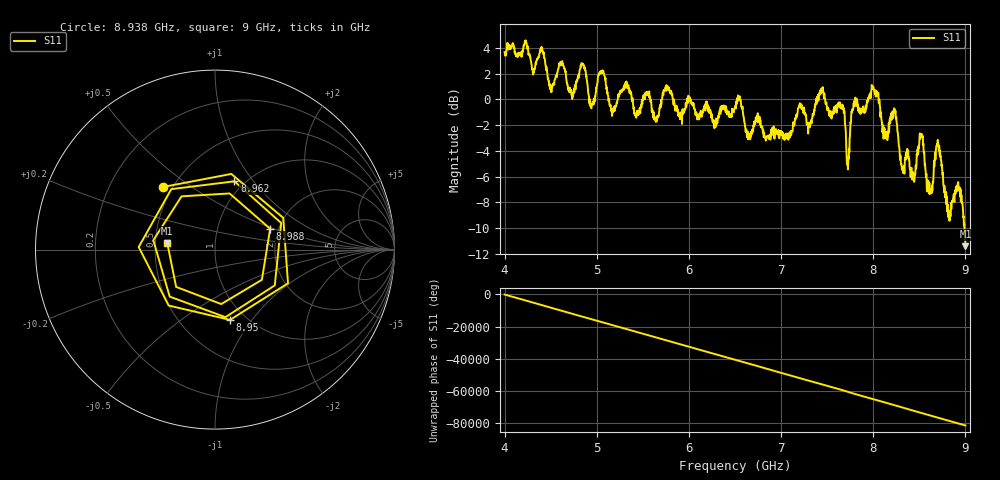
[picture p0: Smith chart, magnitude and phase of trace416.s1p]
! Created with skrf 1.8.0 (http://scikit-rf.org).
# Hz S RI R 50.0
!freq ReS11 ImS11
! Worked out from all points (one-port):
!   1601 points, 4 GHz to 9 GHz, reference 50 ohm
!   lowest |S11| = -11.4 dB at 9 GHz (marker M1), VSWR 1.73, Z = 28.9 + j2.31 ohm
!   |S11| at or under -10 dB: 8.990053 GHz to end of sweep
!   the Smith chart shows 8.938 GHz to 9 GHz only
!   S11 on the Smith chart (normalised r, x): 8.938 GHz: 0.44, +0.39; 8.95 GHz: 0.85, -0.79; 8.962 GHz: 0.90, +0.81; 8.988 GHz: 1.81, +0.47; 9 GHz: 0.58, +0.05
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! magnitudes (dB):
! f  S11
! 4 GHz  3.7
! 4.403 GHz  3.9
! 4.509 GHz  0.6
! 4.625 GHz  3.0
! 4.731 GHz  0.4
! 4.853 GHz  2.7
! 4.944 GHz  -0.4
! 5.047 GHz  2.2
! 5.162 GHz  -0.9
! 5.25 GHz  0.5
! 5.875 GHz  -0.9
! 6.5 GHz  -0.7
! 6.653 GHz  -2.7
! 7.125 GHz  -2.5
! 7.438 GHz  0.9
! 7.75 GHz  -2.4
! 8.006 GHz  0.8
! 8.375 GHz  -4.3
! 8.444 GHz  -6.4
! 8.522 GHz  -2.8
! 8.619 GHz  -7.0
! 8.703 GHz  -3.4
! 8.819 GHz  -8.7
! 8.938 GHz  -6.8
! 8.95 GHz  -8.0
! 8.962 GHz  -8.1
! 8.988 GHz  -9.7
! 9 GHz  -11.4
